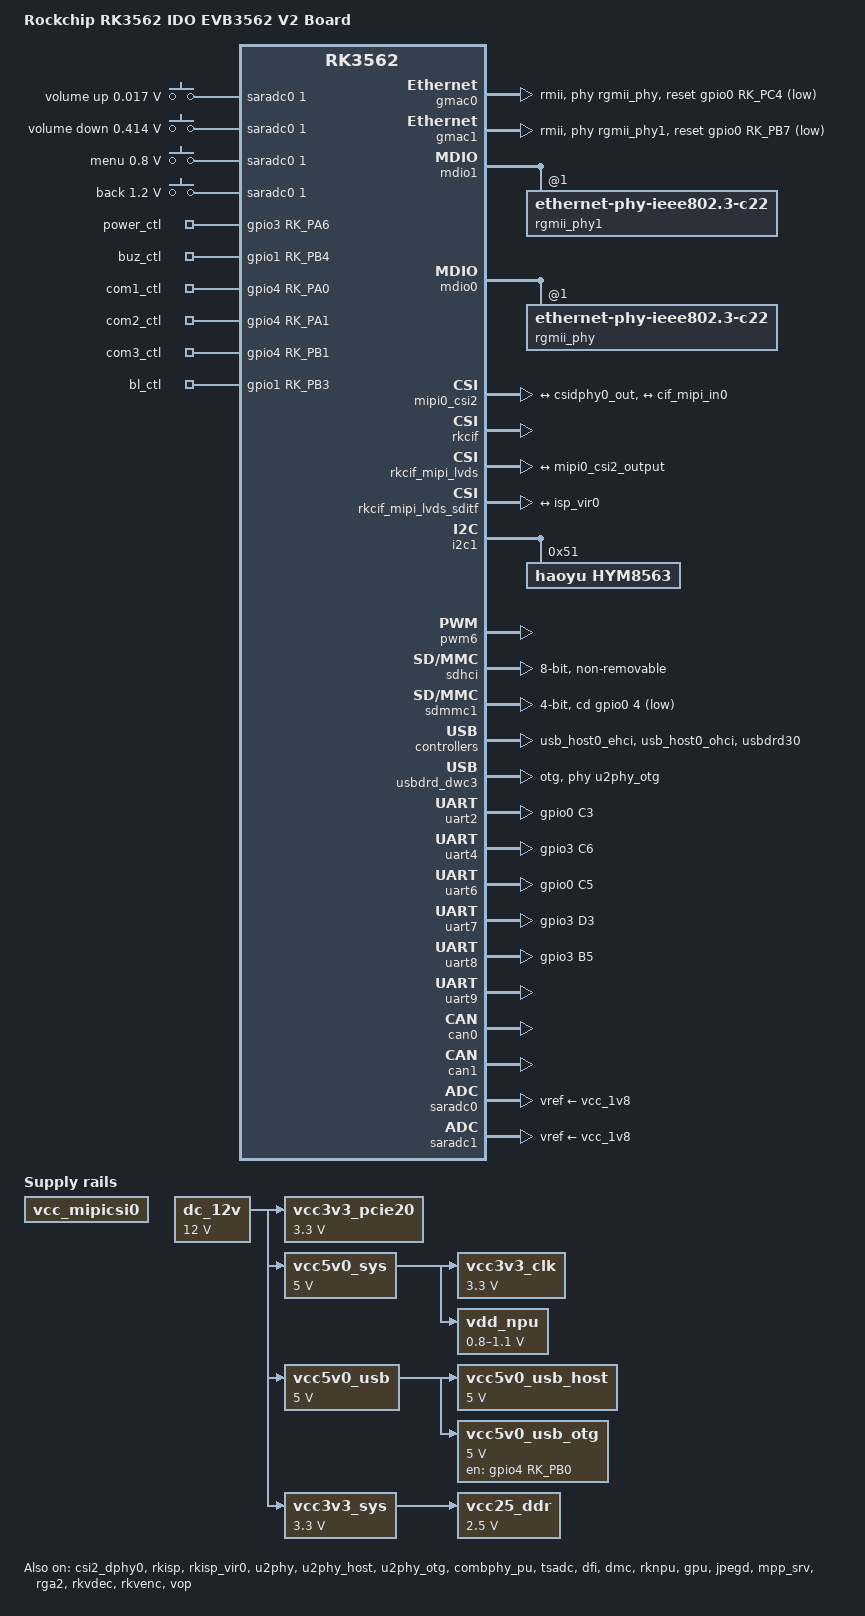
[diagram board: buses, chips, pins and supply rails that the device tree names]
// SPDX-License-Identifier: (GPL-2.0 OR MIT)
/*
 * Copyright (c) 2022 Rockchip Electronics Co., Ltd.
 *
 */

/dts-v1/;

#include "rk3562.dtsi"
#include "rk3562-linux.dtsi"
#include "rk3562-rk809.dtsi"
// #include "ido-evb3562-v2a-cam.dtsi"
#include <dt-bindings/gpio/gpio.h>
#include <dt-bindings/pinctrl/rockchip.h>
#include <dt-bindings/sensor-dev.h>
#include <dt-bindings/input/input.h>

/ {
	model = "Rockchip RK3562 IDO EVB3562 V2 Board";
	compatible = "rockchip,Industio-EVB3562V2-VS1.0.0", "rockchip,rk3562";


	vcc_mipicsi0: vcc-mipicsi0-regulator {
		compatible = "regulator-fixed";
		// gpio = <&gpio3 RK_PC4 GPIO_ACTIVE_HIGH>;
		pinctrl-names = "default";
		// pinctrl-0 = <&mipicsi0_pwr>;
		regulator-name = "vcc_mipicsi0";
		enable-active-high;
		regulator-always-on;
		regulator-boot-on;
	};

	adc_keys: adc-keys {
		compatible = "adc-keys";
		io-channels = <&saradc0 1>;
		io-channel-names = "buttons";
		keyup-threshold-microvolt = <1800000>;
		poll-interval = <100>;

		vol-up-key {
			linux,code = <KEY_VOLUMEUP>;
			label = "volume up";
			press-threshold-microvolt = <17000>;
		};

		vol-down-key {
			linux,code = <KEY_VOLUMEDOWN>;
			label = "volume down";
			press-threshold-microvolt = <414000>;
		};

		menu-key {
			linux,code = <KEY_MENU>;
			label = "menu";
			press-threshold-microvolt = <800000>;
		};

		back-key {
			linux,code = <KEY_BACK>;
			label = "back";
			press-threshold-microvolt = <1200000>;
		};
	};

	bt_sco: bt-sco {
		status = "okay";
		compatible = "delta,dfbmcs320";
		#sound-dai-cells = <0>;
	};

	bt_sound: bt-sound {
		status = "disabled";
		compatible = "simple-audio-card";
		simple-audio-card,format = "dsp_a";
		simple-audio-card,bitclock-inversion = <0>;
		simple-audio-card,mclk-fs = <256>;
		simple-audio-card,name = "rockchip,bt";
		simple-audio-card,cpu {
			sound-dai = <&sai2>;
		};
		simple-audio-card,codec {
			sound-dai = <&bt_sco>;
		};
	};

	dc_12v: dc-12v {
		compatible = "regulator-fixed";
		regulator-name = "dc_12v";
		regulator-always-on;
		regulator-boot-on;
		regulator-min-microvolt = <12000000>;
		regulator-max-microvolt = <12000000>;
	};

	rk809_sound: rk809-sound {
		status = "disabled";
		compatible = "rockchip,multicodecs-card";
		rockchip,card-name = "rockchip-rk809";
//		hp-det-gpio = <&gpio1 RK_PC7 GPIO_ACTIVE_HIGH>;
		rockchip,format = "i2s";
		rockchip,mclk-fs = <256>;
		rockchip,cpu = <&sai0>;
		rockchip,codec = <&rk809_codec>;
		pinctrl-names = "default";
//		pinctrl-0 = <&hp_det>;
	};

	vcc3v3_pcie20: vcc3v3-pcie20 {
		compatible = "regulator-fixed";
		regulator-name = "vcc3v3_pcie20";
		regulator-min-microvolt = <3300000>;
		regulator-max-microvolt = <3300000>;
		enable-active-high;
		// gpios = <&gpio0 RK_PB7 GPIO_ACTIVE_HIGH>;
		startup-delay-us = <5000>;
		vin-supply = <&dc_12v>;
		status = "okay";
	};

	vcc5v0_sys: vcc5v0-sys {
		compatible = "regulator-fixed";
		regulator-name = "vcc5v0_sys";
		regulator-always-on;
		regulator-boot-on;
		regulator-min-microvolt = <5000000>;
		regulator-max-microvolt = <5000000>;
		vin-supply = <&dc_12v>;
	};

	vcc5v0_usb: vcc5v0-usb {
		compatible = "regulator-fixed";
		regulator-name = "vcc5v0_usb";
		regulator-always-on;
		regulator-boot-on;
		regulator-min-microvolt = <5000000>;
		regulator-max-microvolt = <5000000>;
		vin-supply = <&dc_12v>;
	};

	vcc5v0_usb_host: vcc5v0-usb-host {
		compatible = "regulator-fixed";
		regulator-name = "vcc5v0_usb_host";
		regulator-boot-on;
		regulator-always-on;
		regulator-min-microvolt = <5000000>;
		regulator-max-microvolt = <5000000>;
		enable-active-high;
		// gpio = <&gpio4 RK_PB0 GPIO_ACTIVE_HIGH>;
		vin-supply = <&vcc5v0_usb>;
		pinctrl-names = "default";
		// pinctrl-0 = <&usb_host_pwren>;
	};

	vcc5v0_usb_otg: vcc5v0-usb-otg {
		compatible = "regulator-fixed";
		regulator-name = "vcc5v0_usb_otg";
		regulator-min-microvolt = <5000000>;
		regulator-max-microvolt = <5000000>;
		enable-active-high;
		gpio = <&gpio4 RK_PB0 GPIO_ACTIVE_HIGH>;
		vin-supply = <&vcc5v0_usb>;
		pinctrl-names = "default";
		pinctrl-0 = <&usb_otg_pwren>;
	};

	vcc3v3_clk: vcc3v3-clk {
		compatible = "regulator-fixed";
		regulator-name = "vcc3v3_clk";
		regulator-min-microvolt = <3300000>;
		regulator-max-microvolt = <3300000>;
		vin-supply = <&vcc5v0_sys>;
	};

	vcc3v3_sys: vcc-sys {
		compatible = "regulator-fixed";
		regulator-name = "vcc3v3_sys";
		regulator-always-on;
		regulator-boot-on;
		regulator-min-microvolt = <3300000>;
		regulator-max-microvolt = <3300000>;
		vin-supply = <&dc_12v>;
	};

	vcc25_ddr: vcc25-ddr {
		compatible = "regulator-fixed";
		regulator-name = "vcc25_ddr";
		regulator-always-on;
		regulator-boot-on;
		regulator-min-microvolt = <2500000>;
		regulator-max-microvolt = <2500000>;
		vin-supply = <&vcc3v3_sys>;
	};

	vdd_npu: vdd-npu {
		compatible = "pwm-regulator";
		pwms = <&pwm6 0 5000 1>;
		regulator-name = "vdd_npu";
		regulator-min-microvolt = <800000>;
		regulator-max-microvolt = <1100000>;
		regulator-init-microvolt = <900000>;
		regulator-always-on;
		regulator-boot-on;
		regulator-settling-time-up-us = <250>;
		pwm-supply = <&vcc5v0_sys>;
		voltage-table = <1000000 80>,
				<975000 75>,
				<925000 66>,
				<875000 57>,
				<825000 47>;
		status = "okay";
	};

	sdio_pwrseq: sdio-pwrseq {
		compatible = "mmc-pwrseq-simple";
		clocks = <&rk809 1>;
		clock-names = "ext_clock";
		pinctrl-names = "default";
		pinctrl-0 = <&wifi_enable_h>;

		/*
		 * On the module itself this is one of these (depending
		 * on the actual card populated):
		 * - SDIO_RESET_L_WL_REG_ON
		 * - PDN (power down when low)
		 */
		post-power-on-delay-ms = <200>;
		reset-gpios = <&gpio0 RK_PA0 GPIO_ACTIVE_LOW>;
		status = "disabled";
	};

	wireless-wlan {
		compatible = "wlan-platdata";
		rockchip,grf = <&sys_grf>;
		wifi_chip_type = "ap6256";
		pinctrl-names = "default";
		pinctrl-0 = <&wifi_host_wake_irq>;
		WIFI,host_wake_irq = <&gpio1 RK_PC7 GPIO_ACTIVE_HIGH>;
		// WIFI,poweren_gpio = <&gpio0 RK_PB3 GPIO_ACTIVE_HIGH>;
		status = "disabled";
	};

	wireless-bluetooth {
		compatible = "bluetooth-platdata";
		clocks = <&rk809 1>;
		clock-names = "ext_clock";
		//wifi-bt-power-toggle;
		uart_rts_gpios = <&gpio1 RK_PD3 GPIO_ACTIVE_LOW>;
		pinctrl-names = "default", "rts_gpio";
		pinctrl-0 = <&uart1m0_rtsn>, <&bt_reset_gpio>, <&bt_wake_gpio>, <&bt_irq_gpio>;
		pinctrl-1 = <&uart1_gpios>;
		BT,reset_gpio = <&gpio0 RK_PB0 GPIO_ACTIVE_HIGH>;
		BT,wake_gpio     = <&gpio2 RK_PA1 GPIO_ACTIVE_HIGH>;
		BT,wake_host_irq = <&gpio1 RK_PD0 GPIO_ACTIVE_HIGH>;
		status = "disabled";
	};


	leds: leds {
		status = "okay";
		compatible = "gpio-leds";
		pinctrl-names = "default";
		pinctrl-0 =<&leds_gpio>;

//		usb_host {
//			gpios = <&gpio3 RK_PB6 GPIO_ACTIVE_HIGH>;
//			default-state = "on";
//		};

		power_ctl {
			gpios = <&gpio3 RK_PA6 GPIO_ACTIVE_HIGH>;
			default-state = "on";
		};

		buz_ctl {
			gpios = <&gpio1 RK_PB4 GPIO_ACTIVE_HIGH>;
			default-state = "off";
		};

		com1_ctl {
			gpios = <&gpio4 RK_PA0 GPIO_ACTIVE_HIGH>;
			default-state = "off";
		};

		com2_ctl {
			gpios = <&gpio4 RK_PA1 GPIO_ACTIVE_HIGH>;
			default-state = "off";
		};

		com3_ctl {
			gpios = <&gpio4 RK_PB1 GPIO_ACTIVE_HIGH>;
			default-state = "off";
		};

		bl_ctl {
			gpios = <&gpio1 RK_PB3 GPIO_ACTIVE_HIGH>;
			default-state = "on";
		};
/*
		wifi_pwr_ctl {
			gpios = <&gpio0 RK_PA0 GPIO_ACTIVE_HIGH>;
			default-state = "on";
		};
*/

	};
};

&gmac0 {
	phy-mode = "rmii";
	clock_in_out = "input";

	snps,reset-gpio = <&gpio0 RK_PC4 GPIO_ACTIVE_LOW>;
	snps,reset-active-low;
	/* Reset time is 20ms, 100ms for rtl8211f */
	snps,reset-delays-us = <0 50000 100000>;

	//RTL8811
	// tx_delay = <0x3c>;
	// rx_delay = <0x2f>;

//	tx_delay = <0x2c>;
//	rx_delay = <0x35>;

	pinctrl-names = "default";
	pinctrl-0 = <&rmii_pins>;
/*
	pinctrl-0 = <&rgmiim0_miim
		     &rgmiim0_tx_bus2
		     &rgmiim0_rx_bus2
		     &rgmiim0_rgmii_clk
		     &rgmiim0_rgmii_bus
			 &rgmiim0_clk>;
*/

	phy-handle = <&rgmii_phy>;
	status = "okay";
};

&gmac1 {
	phy-mode = "rmii";
	clock_in_out = "input";
	
	snps,reset-gpio = <&gpio0 RK_PB7 GPIO_ACTIVE_LOW>;
	snps,reset-active-low;
	snps,reset-delays-us = <0 20000 100000>;

//	tx_delay = <0x10>;
//	rx_delay = <0x2f>;

	pinctrl-names="default";
	// pinctrl-0 = <&rmii_pins>;
	pinctrl-0 = <&rgmiim0_miim
		     &rgmiim0_tx_bus2
		     &rgmiim0_rx_bus2
//		     &rgmiim0_rgmii_clk
//		     &rgmiim0_rgmii_bus
			 &rgmiim0_clk>;

	phy-handle = <&rgmii_phy1>;

	status = "okay";
};

&mdio1 {
	rgmii_phy1: phy@1 {
		compatible = "ethernet-phy-ieee802.3-c22";
		// compatible = "ti,dp83822";
		// reg = <0x01>;
	};
};

&mdio0 {
	rgmii_phy: phy@1 {
		compatible = "ethernet-phy-ieee802.3-c22";
		// compatible = "ti,dp83822";
		// reg = <0x1>;
	};
};

&csi2_dphy0 {
	status = "okay";

	ports {
		#address-cells = <1>;
		#size-cells = <0>;
		port@0 {
			reg = <0>;
			#address-cells = <1>;
			#size-cells = <0>;

			mipi_in_ucam0: endpoint@1 {
				reg = <1>;
				remote-endpoint = <&ov9282_out>;
				data-lanes = <1 2>;
			};
		};
		port@1 {
			reg = <1>;
			#address-cells = <1>;
			#size-cells = <0>;

			csidphy0_out: endpoint@0 {
				reg = <0>;
				remote-endpoint = <&mipi0_csi2_input>;
			};
		};
	};
};

&mipi0_csi2 {
	status = "okay";

	ports {
		#address-cells = <1>;
		#size-cells = <0>;

		port@0 {
			reg = <0>;
			#address-cells = <1>;
			#size-cells = <0>;

			mipi0_csi2_input: endpoint@1 {
				reg = <1>;
				remote-endpoint = <&csidphy0_out>;
			};
		};

		port@1 {
			reg = <1>;
			#address-cells = <1>;
			#size-cells = <0>;

			mipi0_csi2_output: endpoint@0 {
				reg = <0>;
				remote-endpoint = <&cif_mipi_in0>;
			};
		};
	};
};

&rkcif {
	status = "okay";
};


&rkcif_mipi_lvds {
	status = "okay";

	port {
		cif_mipi_in0: endpoint {
			remote-endpoint = <&mipi0_csi2_output>;
		};
	};
};

&rkcif_mipi_lvds_sditf {
	status = "okay";

	port {
		mipi_lvds_sditf: endpoint {
			remote-endpoint = <&isp_vir0>;
		};
	};
};
&rkisp {
	status = "okay";
};

&rkisp_mmu {
	status = "okay";
};

&rkisp_vir0 {
	status = "okay";

	port {
		#address-cells = <1>;
		#size-cells = <0>;

		isp_vir0: endpoint@0 {
			reg = <0>;
			remote-endpoint = <&mipi_lvds_sditf>;
		};
	};
};

&i2c2 {
	status = "disabled";
	pinctrl-0 = <&i2c2m1_xfer>;

	clock-frequency = <400000>;
	ov9282:ov9282{
		status = "disabled";
		compatible = "ovti,ov9282";

		reg = <0x10>;		

//		avdd-supply = <&vcc2v8_dvp_reg>;
//        	dovdd-supply = <&vcc2v8_dvp_reg>;
//	        dvdd-supply = <&vcc2v8_dvp_reg>;

//		clocks = <&cru CLK_CAM0_OUT2IO>;
		clocks = <&cru CLK_CAM3_OUT2IO>;
		clock-names = "xvclk";
		pinctrl-names = "default";
//		pinctrl-0 = <&camm0_clk0_out>;
		pinctrl-0 = <&cam_clk3_out>;
		reset-gpios = <&gpio3 RK_PD0 GPIO_ACTIVE_HIGH>;
//		pwdn-gpios = <&gpio3 RK_PD0 GPIO_ACTIVE_LOW>;
		assigned-clock-rates = <24000000>;

//		reset-gpios = <&gpio3 RK_PB4 GPIO_ACTIVE_HIGH>;
//		pwdn-gpio = <&gpio3 RK_PC0 GPIO_ACTIVE_LOW>;
//		power-gpios = <&gpio3 RK_PC0 GPIO_ACTIVE_HIGH>;
		port {
			ov9282_out: endpoint {
				remote-endpoint = <&mipi_in_ucam0>;
				data-lanes = <1 2>;
   			        reg = <0>;
//                		bus-type = <V4L2_MBUS_CSI2_DPHY>;
                		mipi-csi2-data-lanes = <2>;  
//				link-frequencies = <0x00000000 0x17D78400>; 
				link-frequencies = /bits/ 64 <400000000>;
   
			};
		};
	};

};

&i2c1 {
	status = "okay";
	
	pinctrl-0 = <&i2c1m0_xfer>;
	hym8563:hym8563@51 {
		compatible = "haoyu,hym8563";
		reg = <0x51>;
		// #clock-cells = <0>;
		// clock-frequency = <32768>;
		status = "okay";
	};
};

&pinctrl {
        rs485 {
                uart2_tx_en_gpio: uart2-tx-en-gpio {
                                rockchip,pins = <0 RK_PC3 RK_FUNC_GPIO &pcfg_pull_none>;
                };

                uart4_tx_en_gpio: uart4-tx-en-gpio {
                                rockchip,pins = <3 RK_PC6 RK_FUNC_GPIO &pcfg_pull_none>;
                };

                uart6_tx_en_gpio: uart6-tx-en-gpio {
                                rockchip,pins = <0 RK_PC5 RK_FUNC_GPIO &pcfg_pull_none>;
                };

                uart7_tx_en_gpio: uart7-tx-en-gpio {
                                rockchip,pins = <3 RK_PD3 RK_FUNC_GPIO &pcfg_pull_none>;
                };

                uart8_tx_en_gpio: uart8-tx-en-gpio {
                                rockchip,pins = <3 RK_PB5 RK_FUNC_GPIO &pcfg_pull_none>;
                };
	};


	sdio-pwrseq {
		wifi_enable_h: wifi-enable-h {
			rockchip,pins = <0 RK_PA0 RK_FUNC_GPIO &pcfg_pull_none>;
		};
	};

	usb {
		usb_host_pwren: usb-host-pwren {
			rockchip,pins = <4 RK_PB0 RK_FUNC_GPIO &pcfg_pull_none>;
		};

		usb_otg_pwren: usb-otg-pwren {
			rockchip,pins = <4 RK_PB0 RK_FUNC_GPIO &pcfg_pull_none>;
		};
	};

	wireless-wlan {
		wifi_host_wake_irq: wifi-host-wake-irq {
			rockchip,pins = <1 RK_PC7 RK_FUNC_GPIO &pcfg_pull_down>;
		};
	};

	wireless-bluetooth {
		uart1_gpios: uart1-gpios {
			rockchip,pins = <1 RK_PD3 RK_FUNC_GPIO &pcfg_pull_none>;
		};

		bt_reset_gpio: bt-reset-gpio {
			rockchip,pins = <0 RK_PB0 RK_FUNC_GPIO &pcfg_pull_none>;
		};

		bt_wake_gpio: bt-wake-gpio {
			rockchip,pins = <2 RK_PA1 RK_FUNC_GPIO &pcfg_pull_none>;
		};
		
		bt_irq_gpio: bt-irq-gpio {
			rockchip,pins = <1 RK_PD0 RK_FUNC_GPIO &pcfg_pull_none>;
		};
	};

	gpio-leds {
		leds_gpio: leds-gpio {
			rockchip,pins =
					<3 RK_PA6 RK_FUNC_GPIO &pcfg_pull_none>,
					<4 RK_PA0 RK_FUNC_GPIO &pcfg_pull_none>,
					<4 RK_PA1 RK_FUNC_GPIO &pcfg_pull_none>,
					<4 RK_PB1 RK_FUNC_GPIO &pcfg_pull_none>,
					<1 RK_PB3 RK_FUNC_GPIO &pcfg_pull_none>,
					<1 RK_PB4 RK_FUNC_GPIO &pcfg_pull_none>;
//					<0 RK_PA0 RK_FUNC_GPIO &pcfg_pull_none>,
//					<3 RK_PB6 RK_FUNC_GPIO &pcfg_pull_none>;
		};
	};

};

&pwm6 {
	pinctrl-0 = <&pwm6m0_pins>;
	status = "okay";
};

&sai0 {
	status = "disabled";
	pinctrl-names = "default";
	pinctrl-0 = <&i2s0m0_lrck
		     &i2s0m0_sclk
		     &i2s0m0_sdi0
		     &i2s0m0_sdo0>;
};

&sdhci {
	bus-width = <8>;
	no-sdio;
	no-sd;
	non-removable;
	max-frequency = <200000000>;
	mmc-hs400-1_8v;
	mmc-hs400-enhanced-strobe;
	full-pwr-cycle-in-suspend;
	status = "okay";
};

&sdmmc1 {
	max-frequency = <150000000>;
	supports-sd;
	no-sdio;
	no-mmc;
	bus-width = <4>;
	cap-mmc-highspeed;
	cap-sd-highspeed;
	disable-wp;
	sd-uhs-sdr104;
//        non-removable;
	pinctrl-names = "default";
	pinctrl-0 = <&sdmmc1_bus4 &sdmmc1_cmd &sdmmc1_clk>;
	cd-gpios = <&gpio0 4 GPIO_ACTIVE_LOW>;
//	cd-inverted;
	status = "okay";
//	vmmc-supply = <&vcc3v3_sd>;
//	vqmmc-supply = <&vccio_sd>;
//	pinctrl-0 = <&sdmmc0_bus4 &sdmmc0_clk &sdmmc0_cmd &sdmmc0_det>;
};

&sdmmc0 {
        max-frequency = <100000000>;
        no-sd;
        no-mmc;
        bes-width = <4>;
        disable-wp;
        cap-sd-highspeed;
        cap-sdio-irq;
        keep-power-in-suspend;
//        mmc-pwrseq = <&sdio_pwrseq>;
        non-removable;
        pinctrl-names = "default";
        pinctrl-0 = <&sdmmc0_bus4 &sdmmc0_cmd &sdmmc0_clk>;
//      sd-uhs-sdr104;
        status = "disabled";
};
/*
&sdmmc0 {
	max-frequency = <150000000>;
	no-sd;
	no-mmc;
	bus-width = <4>;
	disable-wp;
	cap-sd-highspeed;
	cap-sdio-irq;
	keep-power-in-suspend;
	vmmc-supply = <&vcc3v3_sd>;
	vqmmc-supply = <&vccio_sd>;
	mmc-pwrseq = <&sdio_pwrseq>;
	non-removable;
	pinctrl-names = "default";
	pinctrl-0 = <&sdmmc0_bus4 &sdmmc0_clk &sdmmc0_cmd>;
	sd-uhs-sdr104;
	status = "okay";
};
*/

&u2phy {
	status = "okay";
};

&u2phy_host {
	status = "okay";
	phy-supply = <&vcc5v0_usb_host>;
};

&u2phy_otg {
	status = "okay";
	vbus-supply = <&vcc5v0_usb_otg>;
};

&usb_host0_ehci {
	status = "okay";
};

&usb_host0_ohci {
	status = "okay";
};

&usbdrd30 {
	status = "okay";
};

&usbdrd_dwc3 {
	status = "okay";
	dr_mode = "otg";
	extcon = <&u2phy>;
	maximum-speed = "high-speed";
	phys = <&u2phy_otg>;
	phy-names = "usb2-phy";
	snps,dis_u2_susphy_quirk;
	snps,usb2-lpm-disable;
};

&combphy_pu {
	status = "okay";
};

&pcie2x1 {
	pinctrl-0 = <&pcie20m1_pins>;
	reset-gpios = <&gpio3 RK_PB0 GPIO_ACTIVE_HIGH>;
	vpcie3v3-supply = <&vcc3v3_pcie20>;
	status = "disabled";
};

&uart2 {
	status = "okay";
	pinctrl-names = "default";
	pinctrl-0 = <&uart2m1_xfer &uart2_tx_en_gpio>;
//	linux,rs485-enabled-at-boot-time;
        rs485-txen-gpio = <&gpio0 RK_PC3 GPIO_ACTIVE_HIGH>;
};

//232
&uart4 {
	status = "okay";
	pinctrl-names = "default";
	pinctrl-0 = <&uart4m0_xfer &uart4_tx_en_gpio>;
//	linux,rs485-enabled-at-boot-time;  
      rs485-txen-gpio = <&gpio3 RK_PC6 GPIO_ACTIVE_HIGH>;
};

&uart6 {
	status = "okay";
	pinctrl-names = "default";
        pinctrl-0 = <&uart6m0_xfer &uart6_tx_en_gpio>;
//	linux,rs485-enabled-at-boot-time;  
      rs485-txen-gpio = <&gpio0 RK_PC5 GPIO_ACTIVE_HIGH>;
};

&uart7 {
	status = "okay";
	pinctrl-names = "default";
        pinctrl-0 = <&uart7m0_xfer &uart7_tx_en_gpio>;
//	linux,rs485-enabled-at-boot-time;  
      rs485-txen-gpio = <&gpio3 RK_PD3 GPIO_ACTIVE_HIGH>;
};

&uart8 {
	status = "okay";
	pinctrl-names = "default";
        pinctrl-0 = <&uart8m0_xfer &uart8_tx_en_gpio>;
//	linux,rs485-enabled-at-boot-time;  
      rs485-txen-gpio = <&gpio3 RK_PB5 GPIO_ACTIVE_HIGH>;
};
//ttl
&uart9 {
	status = "okay";
	pinctrl-names = "default";
        pinctrl-0 = <&uart9m1_xfer>;
};

&can0 {
	status = "okay";
	pinctrl-names = "default";
	pinctrl-0 = <&can0m1_pins>;	
};

&can1 {
	status = "okay";
	pinctrl-names = "default";
	pinctrl-0 = <&can1m0_pins>;	
};


&spi0 {
	status = "disabled";

	pinctrl-0 = <&spi0m0_pins &spi0m0_csn0>;
	spi_dev@0 {
		compatible = "rockchip,spidev";
		reg = <0>;
		spi-max-frequency = <12000000>;
		spi-lsb-first;
	};
};

&saradc0 {
	status = "okay";
	vref-supply = <&vcc_1v8>;
};

&saradc1 {
	status = "okay";
	vref-supply = <&vcc_1v8>;
};

&tsadc {
	status = "okay";
};

&rk809_codec {
	spk-ctl-gpios = <&gpio1 RK_PD0 GPIO_ACTIVE_LOW>;
	use-ext-amplifier;
	spk-mute-delay-ms = <300>;
};

&cpu0 {
	cpu-supply = <&vdd_cpu>;
};

&dfi {
	status = "okay";
};

&dmc {
	center-supply = <&vdd_logic>;
	status = "okay";
};

&rknpu {
	rknpu-supply = <&vdd_npu>;
	status = "okay";
};

&rknpu_mmu {
	status = "okay";
};

&gpu {
	status = "okay";
	mali-supply = <&vdd_gpu>;
};

&jpegd {
	status = "okay";
};

&jpegd_mmu {
	status = "okay";
};

&mpp_srv {
	status = "okay";
};

&rga2 {
	status = "okay";
};

&rga2_mmu {
	status = "okay";
};

&rkvdec {
	status = "okay";
};

&rkvdec_mmu {
	status = "okay";
};

&rkvenc {
	status = "okay";
};

&rkvenc_mmu {
	status = "okay";
};

&vop {
	status = "okay";
};

&vop_mmu {
	status = "okay";
};

&bt_sco {
	status = "okay";
};

&bt_sound {
	status = "okay";
};

&sai2 {
	status = "disabeld";
	pinctrl-names = "default";
	pinctrl-0 = <&i2s2m0_lrck
				&i2s2m0_sclk
				&i2s2m0_sdi
				&i2s2m0_sdo>;

};
